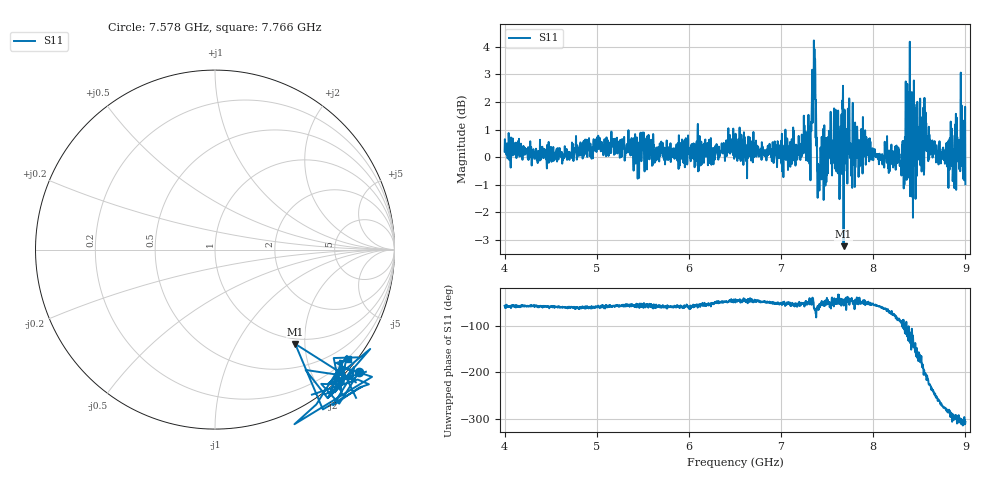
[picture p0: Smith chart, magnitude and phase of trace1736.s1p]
! Created with skrf 1.8.0 (http://scikit-rf.org).
# Hz S RI R 50.0
!freq ReS11 ImS11
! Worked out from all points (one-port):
!   1601 points, 4 GHz to 9 GHz, reference 50 ohm
!   lowest |S11| = -3.2 dB at 7.678 GHz (marker M1), VSWR 5.44, Z = 45.1 - j90.3 ohm
!   |S11| at or under -10 dB: nowhere
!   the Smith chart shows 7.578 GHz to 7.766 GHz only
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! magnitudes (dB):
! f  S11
! 4 GHz  0.2
! 4.625 GHz  -0.2
! 5.016 GHz  0.8
! 5.25 GHz  0.0
! 5.875 GHz  -0.1
! 6.5 GHz  0.1
! 7.125 GHz  0.2
! 7.297 GHz  1.5
! 7.356 GHz  4.2
! 7.375 GHz  0.7
! 7.4 GHz  -0.2
! 7.412 GHz  -0.4
! 7.453 GHz  0.3
! 7.55 GHz  0.5
! 7.609 GHz  0.3
! 7.678 GHz  -3.2
! 7.75 GHz  0.0
! 7.775 GHz  1.2
! 7.891 GHz  0.2
! 8.312 GHz  0.4
! 8.375 GHz  0.3
! 8.425 GHz  -1.1
! 8.556 GHz  2.2
! 8.622 GHz  0.2
! 8.753 GHz  0.3
! 8.875 GHz  0.3
! 8.972 GHz  0.3
! 9 GHz  -1.0
